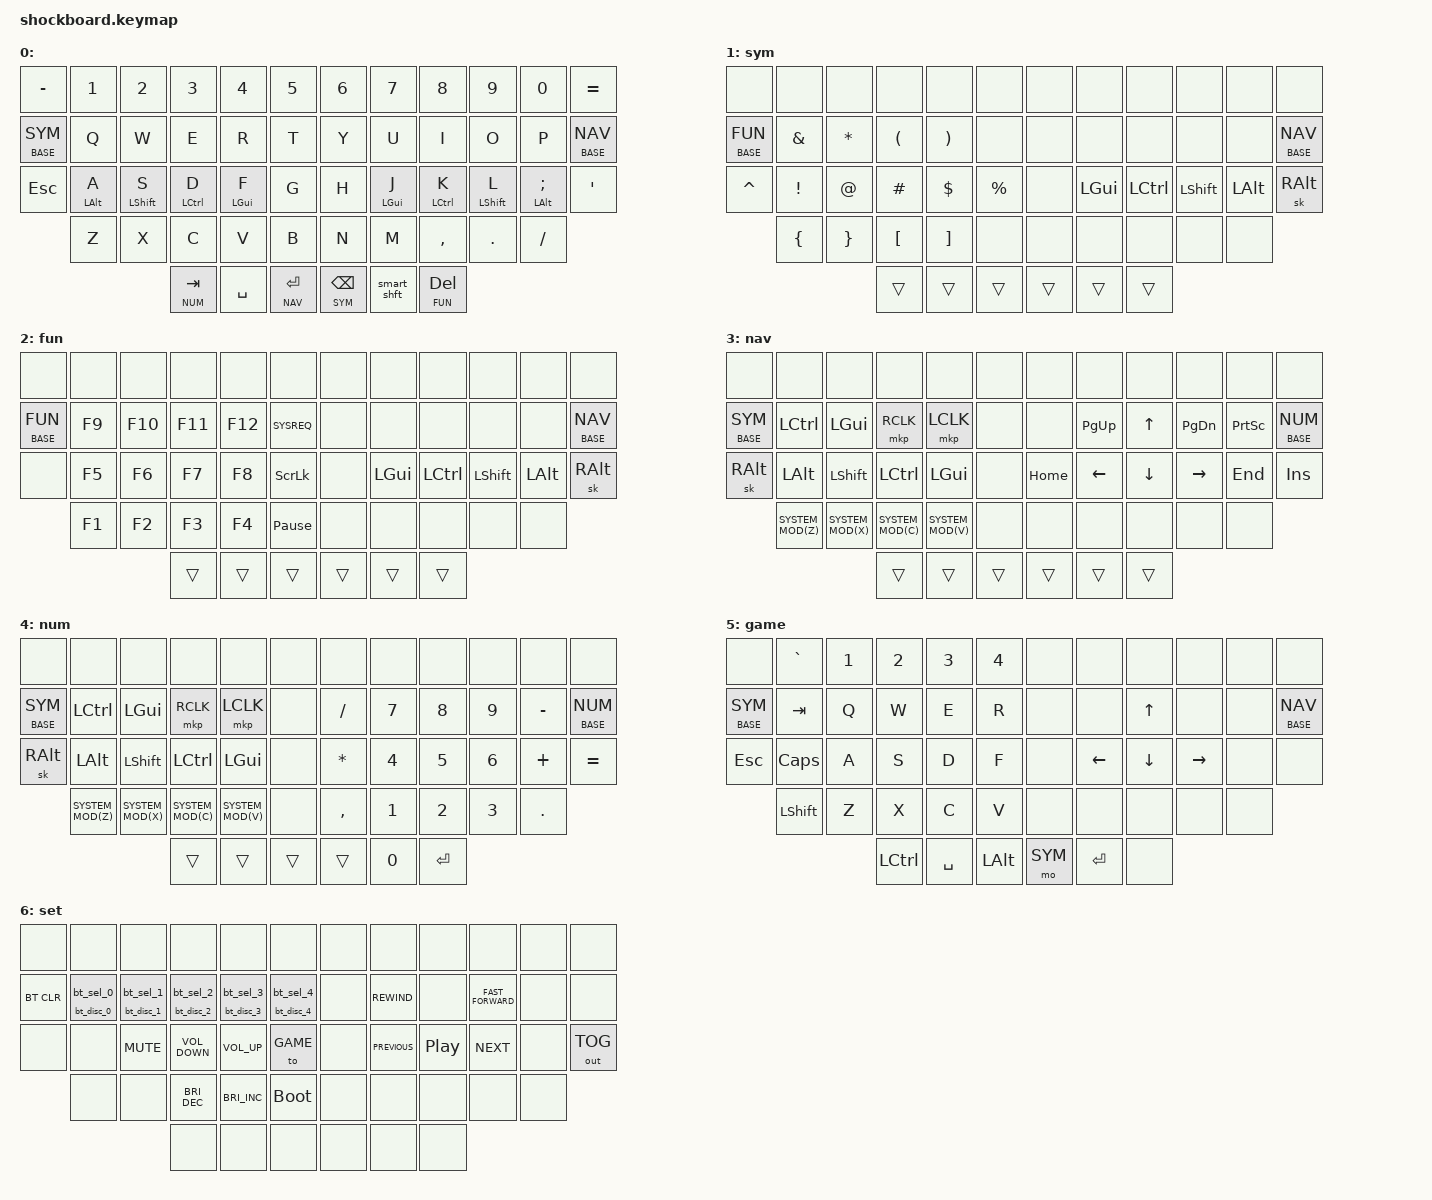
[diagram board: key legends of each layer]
/*
 * Copyright (c) 2024 Steven Eisinger
 *
 * SPDX-License-Identifier: MIT
 */

// Required to be defined before the pointing dt-bindings import
#define ZMK_POINTING_DEFAULT_MOVE_VAL 1500
#define ZMK_POINTING_DEFAULT_SCRL_VAL 20

#include <behaviors/mouse_keys.dtsi>
#include <behaviors.dtsi>
#include <dt-bindings/zmk/bt.h>
#include <dt-bindings/zmk/keys.h>
#include <dt-bindings/zmk/pointing.h>
#include <dt-bindings/zmk/outputs.h>


//--------------------------------------------------------------------------------------------------
// Global defines

#define PHT_TAPPING_TERM_MS     280  // Positional hold tap tapping term (ms)
#define PHT_IDLE_MS             200  // Positional hold tap require idle time (ms)
#define LT_TAPPING_TERM_MS      200  // Layer tap tapping term (ms)
#define MOD_TOG_TAPPING_TERM_MS 200  // Mod tap tapping term (ms)
#define QUICK_TAP_MS            225  // Quick tap timing (ms)
#define SK_RELEASE_AFTER_MS     900  // Release sticky key after (ms)
#define COMBO_TERM_FAST_MS       25  // Fast combo term for horizontal combos (ms)
#define COMBO_TERM_SLOW_MS      100  // Slow combo term for vertical combos (ms)
#define COMBO_IDLE_FAST_MS       50  // Fast require prior idle time for horizontal combos (ms)
#define COMBO_IDLE_SLOW_MS        0  // Slow require prior idle time for vertical combos (ms)

#define NONE 0  // Null keypress


//--------------------------------------------------------------------------------------------------
// Layer definitions

#define BASE 0
#define SYM  1
#define FUN  2
#define NAV  3
#define NUM  4
#define GAME 5
#define SET  6


//--------------------------------------------------------------------------------------------------
// Homerow mod (HRM) definitions

#define HRM_INDEX  LEFT_GUI
#define HRM_MIDDLE LEFT_CONTROL
#define HRM_RING   LEFT_SHIFT
#define HRM_PINKY  LEFT_ALT

//--------------------------------------------------------------------------------------------------
// Modifiers for the bottom row of the left side for easy 1-handed copy/cut/paste/undo
// If MAC_MODS is defined, then COMMAND will be used for these shortcuts instead of CONTROL

// #define MAC_MODS
#ifdef MAC_MODS
#define SYSTEM_MOD LG
#else
#define SYSTEM_MOD LC
#endif

//--------------------------------------------------------------------------------------------------
// Defaults reconfiguration

&lt {
    flavor = "balanced";
    tapping-term-ms = <LT_TAPPING_TERM_MS>;
    quick-tap-ms = <QUICK_TAP_MS>;
    hold-while-undecided;
};

&sk {
    release-after-ms = <SK_RELEASE_AFTER_MS>;
    quick-release;
};

&mmv {
    acceleration-exponent = <1>;
    time-to-max-speed-ms = <500>;
    delay-ms = <0>;
};

&msc {
    acceleration-exponent = <1>;
    time-to-max-speed-ms = <40>;
    delay-ms = <0>;
};


//--------------------------------------------------------------------------------------------------

/ {
    combos {
        compatible = "zmk,combos";

        // Vertical combos
        combo_n1 {
        bindings = <&kp N1>;
            key-positions = <25 13>;
            timeout-ms = <COMBO_TERM_SLOW_MS>;
            require-prior-idle-ms = <COMBO_IDLE_SLOW_MS>;
            layers = <BASE>;
        };

        combo_n2 {
            bindings = <&kp N2>;
            key-positions = <26 14>;
            timeout-ms = <COMBO_TERM_SLOW_MS>;
            require-prior-idle-ms = <COMBO_IDLE_SLOW_MS>;
            layers = <BASE>;
        };

        combo_n3 {
            bindings = <&kp N3>;
            key-positions = <27 15>;
            timeout-ms = <COMBO_TERM_SLOW_MS>;
            require-prior-idle-ms = <COMBO_IDLE_SLOW_MS>;
            layers = <BASE>;
        };

        combo_n4 {
            bindings = <&kp N4>;
            key-positions = <28 16>;
            timeout-ms = <COMBO_TERM_SLOW_MS>;
            require-prior-idle-ms = <COMBO_IDLE_SLOW_MS>;
            layers = <BASE>;
        };

        combo_n5 {
            bindings = <&kp N5>;
            key-positions = <29 17>;
            timeout-ms = <COMBO_TERM_SLOW_MS>;
            require-prior-idle-ms = <COMBO_IDLE_SLOW_MS>;
            layers = <BASE>;
        };

        combo_n6 {
            bindings = <&kp N6>;
            key-positions = <30 18>;
            timeout-ms = <COMBO_TERM_SLOW_MS>;
            require-prior-idle-ms = <COMBO_IDLE_SLOW_MS>;
            layers = <BASE>;
        };

        combo_n7 {
            bindings = <&kp N7>;
            key-positions = <19 31>;
            timeout-ms = <COMBO_TERM_SLOW_MS>;
            require-prior-idle-ms = <COMBO_IDLE_SLOW_MS>;
            layers = <BASE>;
        };

        combo_n8 {
            bindings = <&kp N8>;
            key-positions = <20 32>;
            timeout-ms = <COMBO_TERM_SLOW_MS>;
            require-prior-idle-ms = <COMBO_IDLE_SLOW_MS>;
            layers = <BASE>;
        };

        combo_n9 {
            bindings = <&kp N9>;
            key-positions = <21 33>;
            timeout-ms = <COMBO_TERM_SLOW_MS>;
            require-prior-idle-ms = <COMBO_IDLE_SLOW_MS>;
            layers = <BASE>;
        };

        combo_n0 {
            bindings = <&kp N0>;
            key-positions = <22 34>;
            timeout-ms = <COMBO_TERM_SLOW_MS>;
            require-prior-idle-ms = <COMBO_IDLE_SLOW_MS>;
            layers = <BASE>;
        };

        combo_grave_game {
        bindings = <&kp GRAVE>;
            key-positions = <25 13>;
            timeout-ms = <COMBO_TERM_SLOW_MS>;
            require-prior-idle-ms = <COMBO_IDLE_SLOW_MS>;
            layers = <GAME>;
        };

        combo_n1_game {
            bindings = <&kp N1>;
            key-positions = <26 14>;
            timeout-ms = <COMBO_TERM_SLOW_MS>;
            require-prior-idle-ms = <COMBO_IDLE_SLOW_MS>;
            layers = <GAME>;
        };

        combo_n2_game {
            bindings = <&kp N2>;
            key-positions = <27 15>;
            timeout-ms = <COMBO_TERM_SLOW_MS>;
            require-prior-idle-ms = <COMBO_IDLE_SLOW_MS>;
            layers = <GAME>;
        };

        combo_n3_game {
            bindings = <&kp N3>;
            key-positions = <28 16>;
            timeout-ms = <COMBO_TERM_SLOW_MS>;
            require-prior-idle-ms = <COMBO_IDLE_SLOW_MS>;
            layers = <GAME>;
        };

        combo_n4_game {
            bindings = <&kp N4>;
            key-positions = <29 17>;
            timeout-ms = <COMBO_TERM_SLOW_MS>;
            require-prior-idle-ms = <COMBO_IDLE_SLOW_MS>;
            layers = <GAME>;
        };

        // Horizontal combos
        combo_plus {
            bindings = <&kp PLUS>;
            key-positions = <21 20>;
            timeout-ms = <COMBO_TERM_FAST_MS>;
            require-prior-idle-ms = <COMBO_IDLE_FAST_MS>;
            layers = <BASE>;
        };

        combo_minus {
            bindings = <&kp MINUS>;
            key-positions = <15 16>;
            timeout-ms = <COMBO_TERM_FAST_MS>;
            require-prior-idle-ms = <COMBO_IDLE_FAST_MS>;
            layers = <BASE>;
        };

        combo_underscore {
            bindings = <&kp UNDERSCORE>;
            key-positions = <15 14>;
            timeout-ms = <COMBO_TERM_FAST_MS>;
            require-prior-idle-ms = <COMBO_IDLE_FAST_MS>;
            layers = <BASE>;
        };

        combo_equal {
            bindings = <&kp EQUAL>;
            key-positions = <20 19>;
            timeout-ms = <COMBO_TERM_FAST_MS>;
            require-prior-idle-ms = <COMBO_IDLE_FAST_MS>;
            layers = <BASE>;
        };

        combo_tilde {
            bindings = <&kp TILDE>;
            key-positions = <38 37>;
            timeout-ms = <COMBO_TERM_FAST_MS>;
            require-prior-idle-ms = <COMBO_IDLE_FAST_MS>;
            layers = <BASE>;
        };

        combo_grave {
            bindings = <&kp GRAVE>;
            key-positions = <38 39>;
            timeout-ms = <COMBO_TERM_FAST_MS>;
            require-prior-idle-ms = <COMBO_IDLE_FAST_MS>;
            layers = <BASE>;
        };

        combo_backslash {
            bindings = <&kp BACKSLASH>;
            key-positions = <42 43>;
            timeout-ms = <COMBO_TERM_FAST_MS>;
            require-prior-idle-ms = <COMBO_IDLE_FAST_MS>;
            layers = <BASE>;
        };

        combo_pipe {
            bindings = <&kp PIPE>;
            key-positions = <43 44>;
            timeout-ms = <COMBO_TERM_FAST_MS>;
            require-prior-idle-ms = <COMBO_IDLE_FAST_MS>;
            layers = <BASE>;
        };

        combo_middle_click {
            bindings = <&mkp MCLK>;
            key-positions = <15 16>;
            timeout-ms = <COMBO_TERM_FAST_MS>;
            require-prior-idle-ms = <COMBO_IDLE_FAST_MS>;
            layers = <NAV NUM>;
        };
    };


//--------------------------------------------------------------------------------------------------

    macros {
        bt_sel_0: bt_sel_0 {
            compatible = "zmk,behavior-macro";
            #binding-cells = <0>;
            bindings = <&bt BT_SEL 0>;
        };

        bt_disc_0: bt_disc_0 {
            compatible = "zmk,behavior-macro";
            #binding-cells = <0>;
            bindings = <&bt BT_DISC 0>;
        };

        bt_sel_1: bt_sel_1 {
            compatible = "zmk,behavior-macro";
            #binding-cells = <0>;
            bindings = <&bt BT_SEL 1>;
        };

        bt_disc_1: bt_disc_1 {
            compatible = "zmk,behavior-macro";
            #binding-cells = <0>;
            bindings = <&bt BT_DISC 1>;
        };

        bt_sel_2: bt_sel_2 {
            compatible = "zmk,behavior-macro";
            #binding-cells = <0>;
            bindings = <&bt BT_SEL 2>;
        };

        bt_disc_2: bt_disc_2 {
            compatible = "zmk,behavior-macro";
            #binding-cells = <0>;
            bindings = <&bt BT_DISC 2>;
        };

        bt_sel_3: bt_sel_3 {
            compatible = "zmk,behavior-macro";
            #binding-cells = <0>;
            bindings = <&bt BT_SEL 3>;
        };

        bt_disc_3: bt_disc_3 {
            compatible = "zmk,behavior-macro";
            #binding-cells = <0>;
            bindings = <&bt BT_DISC 3>;
        };

        bt_sel_4: bt_sel_4 {
            compatible = "zmk,behavior-macro";
            #binding-cells = <0>;
            bindings = <&bt BT_SEL 4>;
        };

        bt_disc_4: bt_disc_4 {
            compatible = "zmk,behavior-macro";
            #binding-cells = <0>;
            bindings = <&bt BT_DISC 4>;
        };
    };


//--------------------------------------------------------------------------------------------------

    behaviors {
        pht_left: pht_left {  // Positional hold tap left
            compatible = "zmk,behavior-hold-tap";
            #binding-cells = <2>;
            bindings = <&kp>, <&kp>;
            flavor = "balanced";
            tapping-term-ms = <PHT_TAPPING_TERM_MS>;
            quick-tap-ms = <QUICK_TAP_MS>;
            require-prior-idle-ms = <PHT_IDLE_MS>;
            hold-trigger-key-positions = <6 7 8 9 10 11 18 19 20 21 22 23 30 31 32 33 34 35 41 42 43 44 45 46 47 48 49 50 51>;
            hold-trigger-on-release;
        };

        pht_right: pht_right {  // Positional hold tap right
            compatible = "zmk,behavior-hold-tap";
            #binding-cells = <2>;
            bindings = <&kp>, <&kp>;
            flavor = "balanced";
            tapping-term-ms = <PHT_TAPPING_TERM_MS>;
            quick-tap-ms = <QUICK_TAP_MS>;
            require-prior-idle-ms = <PHT_IDLE_MS>;
            hold-trigger-key-positions = <0 1 2 3 4 5 12 13 14 15 16 17 24 25 26 27 28 29 36 37 38 39 40 46 47 48 49 50 51>;
            hold-trigger-on-release;
        };

        to_hold: to_hold {  // Layer on hold
            compatible = "zmk,behavior-hold-tap";
            #binding-cells = <2>;
            bindings = <&to>, <&to>;
            tapping-term-ms = <LT_TAPPING_TERM_MS>;
        };

        smart_shft: smart_shift {  // Sticky shift on tap, caps lock on double tap, shift on hold
            compatible = "zmk,behavior-mod-morph";
            #binding-cells = <0>;
            bindings = <&sk LEFT_SHIFT>, <&kp CAPSLOCK>;
            mods = <(MOD_LSFT)>;
        };

        bt_hold_0: bt_hold_0 {  // Disconnect on hold, connect on tap
            compatible = "zmk,behavior-hold-tap";
            #binding-cells = <2>;
            bindings = <&bt_disc_0>, <&bt_sel_0>;
            tapping-term-ms = <LT_TAPPING_TERM_MS>;
        };

        bt_hold_1: bt_hold_1 {
            compatible = "zmk,behavior-hold-tap";
            #binding-cells = <2>;
            bindings = <&bt_disc_1>, <&bt_sel_1>;
            tapping-term-ms = <LT_TAPPING_TERM_MS>;
        };

        bt_hold_2: bt_hold_2 {
            compatible = "zmk,behavior-hold-tap";
            #binding-cells = <2>;
            bindings = <&bt_disc_2>, <&bt_sel_2>;
            tapping-term-ms = <LT_TAPPING_TERM_MS>;
        };

        bt_hold_3: bt_hold_3 {
            compatible = "zmk,behavior-hold-tap";
            #binding-cells = <2>;
            bindings = <&bt_disc_3>, <&bt_sel_3>;
            tapping-term-ms = <LT_TAPPING_TERM_MS>;
        };

        bt_hold_4: bt_hold_4 {
            compatible = "zmk,behavior-hold-tap";
            #binding-cells = <2>;
            bindings = <&bt_disc_4>, <&bt_sel_4>;
            tapping-term-ms = <LT_TAPPING_TERM_MS>;
        };
    };


//--------------------------------------------------------------------------------------------------

    keymap {
        compatible = "zmk,keymap";

        base_layer {
            display-name = "";
            bindings = <
&kp MINUS          &kp N1                 &kp N2                &kp N3                  &kp N4                 &kp N5         &kp N6             &kp N7                  &kp N8                   &kp N9                 &kp N0                     &kp EQUAL
&to_hold BASE SYM  &kp Q                  &kp W                 &kp E                   &kp R                  &kp T          &kp Y              &kp U                   &kp I                    &kp O                  &kp P                      &to_hold BASE NAV
&kp ESCAPE         &pht_left HRM_PINKY A  &pht_left HRM_RING S  &pht_left HRM_MIDDLE D  &pht_left HRM_INDEX F  &kp G          &kp H              &pht_right HRM_INDEX J  &pht_right HRM_MIDDLE K  &pht_right HRM_RING L  &pht_right HRM_PINKY SEMI  &kp SINGLE_QUOTE
                   &kp Z                  &kp X                 &kp C                   &kp V                  &kp B          &kp N              &kp M                   &kp COMMA                &kp DOT                &kp SLASH
                                                                &lt NUM TAB             &kp SPACE              &lt NAV ENTER  &lt SYM BACKSPACE  &smart_shft             &lt FUN DELETE
            >;
        };

        sym_layer {
            display-name = "sym";
            bindings = <
&none              &none            &none            &none                 &none                  &none        &none   &none          &none           &none         &none          &none
&to_hold BASE FUN  &kp AMPERSAND    &kp ASTERISK     &kp LEFT_PARENTHESIS  &kp RIGHT_PARENTHESIS  &none        &none   &none          &none           &none         &none          &to_hold BASE NAV
&kp CARET          &kp EXCLAMATION  &kp AT_SIGN      &kp HASH              &kp DOLLAR             &kp PERCENT  &none   &kp HRM_INDEX  &kp HRM_MIDDLE  &kp HRM_RING  &kp HRM_PINKY  &sk RIGHT_ALT
                   &kp LEFT_BRACE   &kp RIGHT_BRACE  &kp LEFT_BRACKET      &kp RIGHT_BRACKET      &none        &none   &none          &none           &none         &none
                                                     &trans                &trans                 &trans       &trans  &trans         &trans
            >;
        };

        fun_layer {
            display-name = "fun";
            bindings = <
&none              &none   &none    &none    &none    &none            &none   &none          &none           &none         &none          &none
&to_hold BASE FUN  &kp F9  &kp F10  &kp F11  &kp F12  &kp SYSREQ       &none   &none          &none           &none         &none          &to_hold BASE NAV
&none              &kp F5  &kp F6   &kp F7   &kp F8   &kp SCROLLLOCK   &none   &kp HRM_INDEX  &kp HRM_MIDDLE  &kp HRM_RING  &kp HRM_PINKY  &sk RIGHT_ALT
                   &kp F1  &kp F2   &kp F3   &kp F4   &kp PAUSE_BREAK  &none   &none          &none           &none         &none
                                    &trans   &trans   &trans           &trans  &trans         &trans
            >;
        };

        nav_layer {
            display-name = "nav";
            bindings = <
&none              &none              &none              &none              &none              &none   &none     &none        &none      &none          &none            &none
&to_hold BASE SYM  &kp HRM_MIDDLE     &kp HRM_INDEX      &mkp RCLK          &mkp LCLK          &none   &none     &kp PAGE_UP  &kp UP     &kp PAGE_DOWN  &kp PRINTSCREEN  &to_hold BASE NUM
&sk RIGHT_ALT      &kp HRM_PINKY      &kp HRM_RING       &kp HRM_MIDDLE     &kp HRM_INDEX      &none   &kp HOME  &kp LEFT     &kp DOWN   &kp RIGHT      &kp END          &kp INSERT
                   &kp SYSTEM_MOD(Z)  &kp SYSTEM_MOD(X)  &kp SYSTEM_MOD(C)  &kp SYSTEM_MOD(V)  &none   &none     &none        &none      &none          &none
                                                         &trans             &trans             &trans  &trans    &trans       &trans
            >;
        };

        num_layer {
            display-name = "num";
            bindings = <
&none              &none              &none              &none              &none              &none   &none         &none   &none   &none   &none       &none
&to_hold BASE SYM  &kp HRM_MIDDLE     &kp HRM_INDEX      &mkp RCLK          &mkp LCLK          &none   &kp SLASH     &kp N7  &kp N8  &kp N9  &kp MINUS   &to_hold BASE NUM
&sk RIGHT_ALT      &kp HRM_PINKY      &kp HRM_RING       &kp HRM_MIDDLE     &kp HRM_INDEX      &none   &kp ASTERISK  &kp N4  &kp N5  &kp N6  &kp PLUS    &kp EQUAL
                   &kp SYSTEM_MOD(Z)  &kp SYSTEM_MOD(X)  &kp SYSTEM_MOD(C)  &kp SYSTEM_MOD(V)  &none   &kp COMMA     &kp N1  &kp N2  &kp N3  &kp PERIOD
                                                         &trans             &trans             &trans  &trans        &kp N0  &kp ENTER
            >;
        };

        game_layer {
            display-name = "game";
            bindings = <
&none              &kp GRAVE       &kp N1  &kp N2            &kp N3     &kp N4        &none    &none      &none     &none      &none  &none
&to_hold BASE SYM  &kp TAB         &kp Q   &kp W             &kp E      &kp R         &none    &none      &kp UP    &none      &none  &to_hold BASE NAV
&kp ESCAPE         &kp CAPSLOCK    &kp A   &kp S             &kp D      &kp F         &none    &kp LEFT   &kp DOWN  &kp RIGHT  &none  &none
                   &kp LEFT_SHIFT  &kp Z   &kp X             &kp C      &kp V         &none    &none      &none     &none      &none
                                           &kp LEFT_CONTROL  &kp SPACE  &kp LEFT_ALT  &mo SYM  &kp ENTER  &none
            >;
        };

        set_layer {
            display-name = "set";
            bindings = <
&none       &none           &none           &none                 &none                 &none           &none  &none           &none             &none               &none  &none
&bt BT_CLR  &bt_hold_0 0 0  &bt_hold_1 0 0  &bt_hold_2 0 0        &bt_hold_3 0 0        &bt_hold_4 0 0  &none  &kp C_REWIND    &none             &kp C_FAST_FORWARD  &none  &none
&none       &none           &kp C_MUTE      &kp C_VOLUME_DOWN     &kp C_VOLUME_UP       &to GAME        &none  &kp C_PREVIOUS  &kp C_PLAY_PAUSE  &kp C_NEXT          &none  &out OUT_TOG
            &none           &none           &kp C_BRIGHTNESS_DEC  &kp C_BRIGHTNESS_INC  &bootloader     &none  &none           &none             &none               &none
                                            &none                 &none                 &none           &none  &none           &none
            >;
        };
    };


//--------------------------------------------------------------------------------------------------

    conditional_layers {
        compatible = "zmk,conditional-layers";

        condition_set {
            if-layers = <NAV SYM>;
            then-layer = <SET>;
        };

        condition_set_game {
            if-layers = <GAME SYM>;
            then-layer = <SET>;
        };
    };
};
